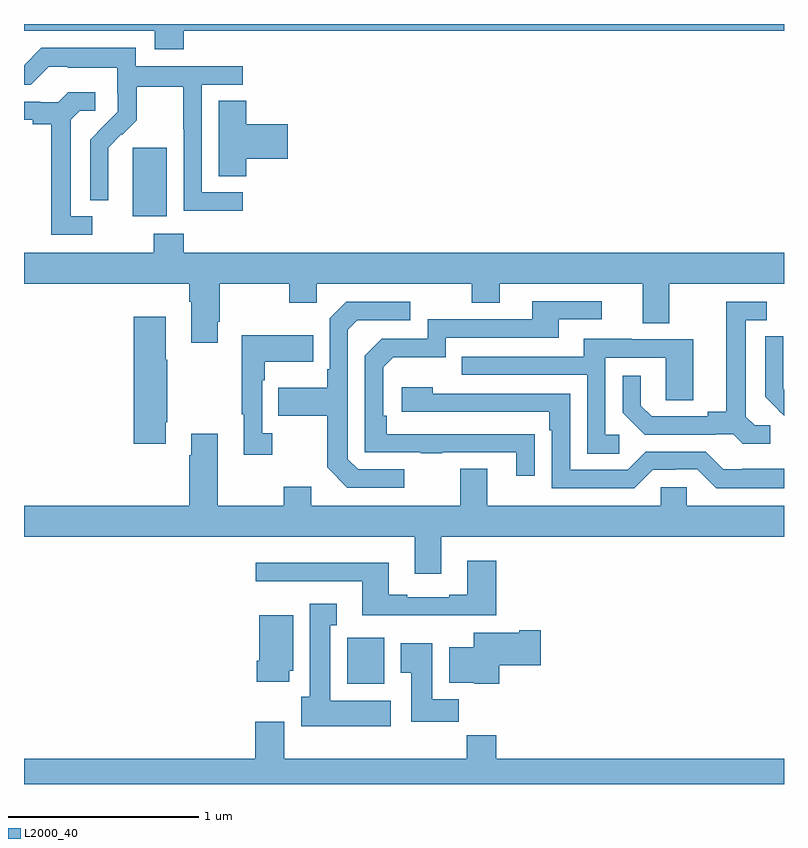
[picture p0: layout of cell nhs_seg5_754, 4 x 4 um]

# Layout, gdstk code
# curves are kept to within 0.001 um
import gdstk
lib = gdstk.Library(unit=1e-6, precision=1e-09)
def R(c, l, rs):  # rectangles x0, y0, x1, y1
    for r in rs: c.add(gdstk.rectangle(r[:2], r[2:], *l))
def P(c, l, *ps):  # polygons
    for p in ps: c.add(gdstk.Polygon(p, *l))
L2000_40 = (2000, 40)

nhs_seg5_754 = lib.new_cell('nhs_seg5_754')
R(nhs_seg5_754, L2000_40, [(160.7,849.326,160.897,849.568), (159.572,851.786,159.751,852.147)])
P(nhs_seg5_754, L2000_40, [(159.842,852.764),(163,852.764),(163,852.799),(159,852.799),(159,852.764),(159.689,852.764),(159.689,852.665),(159.842,852.665)],
  [(160.15,851.913),(159.936,851.913),(159.936,852.48),(160.15,852.48),(160.15,852.576),(159.588,852.576),(159.588,852.673),(159.091,852.673),(159,852.582),(159,852.48),(159.036,852.48),(159.129,852.573),(159.229,852.573),(159.229,852.569),(159.492,852.569),(159.492,852.435),(159.494,852.435),(159.494,852.338),(159.348,852.19),(159.348,851.872),(159.444,851.872),(159.443,852.149),(159.513,852.219),(159.516,852.216),(159.593,852.293),(159.593,852.468),(159.838,852.468),(159.838,852.244),(159.84,852.244),(159.84,851.815),(160.15,851.815)],
  [(159.358,851.787),(159.247,851.787),(159.247,852.295),(159.294,852.342),(159.376,852.342),(159.376,852.439),(159.232,852.439),(159.18,852.387),(159.086,852.387),(159.086,852.39),(159,852.39),(159,852.294),(159.047,852.294),(159.047,852.272),(159.143,852.272),(159.143,851.691),(159.358,851.691)],
  [(160.169,852.089),(160.387,852.089),(160.387,852.272),(160.169,852.272),(160.169,852.395),(160.025,852.395),(160.025,851.998),(160.169,851.998)],
  [(160.021,851.233),(160.029,851.233),(160.029,851.432),(160.396,851.432),(160.396,851.333),(160.542,851.333),(160.542,851.432),(161.356,851.432),(161.356,851.333),(161.503,851.333),(161.503,851.432),(162.257,851.432),(162.257,851.224),(162.397,851.224),(162.397,851.432),(163,851.432),(163,851.596),(159.842,851.596),(159.842,851.695),(159.682,851.695),(159.682,851.596),(159,851.596),(159,851.432),(159.869,851.432),(159.869,851.336),(159.881,851.336),(159.881,851.121),(160.021,851.121)],
  [(161.687,850.64),(160.91,850.641),(160.91,850.738),(160.89,850.738),(160.89,850.992),(160.943,851.045),(161.22,851.045),(161.22,851.148),(161.815,851.148),(161.815,851.244),(162.04,851.244),(162.04,851.34),(161.675,851.34),(161.675,851.244),(161.124,851.244),(161.124,851.142),(160.884,851.142),(160.794,851.052),(160.794,850.545),(161.089,850.545),(161.089,850.54),(161.201,850.54),(161.201,850.545),(161.591,850.545),(161.591,850.422),(161.687,850.422)],
  [(162.928,850.686),(162.846,850.686),(162.799,850.733),(162.799,851.241),(162.91,851.241),(162.91,851.337),(162.695,851.337),(162.695,850.757),(162.599,850.757),(162.599,850.734),(162.304,850.734),(162.247,850.791),(162.247,850.948),(162.15,850.948),(162.15,850.754),(162.266,850.638),(162.638,850.638),(162.638,850.641),(162.732,850.641),(162.784,850.589),(162.928,850.589)],
  [(161.002,850.455),(160.758,850.455),(160.704,850.509),(160.704,851.19),(160.755,851.241),(161.032,851.241),(161.032,851.337),(160.695,851.337),(160.608,851.25),(160.608,850.981),(160.596,850.981),(160.596,850.885),(160.339,850.885),(160.339,850.738),(160.596,850.738),(160.596,850.465),(160.701,850.359),(161.002,850.359)],
  [(159.745,850.702),(159.753,850.702),(159.753,851.033),(159.745,851.033),(159.745,851.257),(159.578,851.257),(159.578,850.59),(159.745,850.59)],
  [(160.306,850.646),(160.254,850.646),(160.254,850.925),(160.267,850.925),(160.267,851.021),(160.523,851.021),(160.523,851.161),(160.146,851.161),(160.146,850.745),(160.157,850.745),(160.157,850.533),(160.306,850.533)],
  [(163,850.875),(162.995,850.88),(162.995,851.002),(162.996,851.002),(162.996,851.156),(162.9,851.156),(162.9,850.838),(162.973,850.765),(162.972,850.764),(163,850.736)],
  [(162.133,850.638),(162.06,850.638),(162.06,851.043),(162.378,851.043),(162.378,850.819),(162.523,850.819),(162.523,851.139),(162.199,851.139),(162.199,851.143),(161.945,851.143),(161.945,851.049),(161.305,851.049),(161.305,850.953),(161.964,850.953),(161.964,850.537),(162.133,850.537)],
  [(163,850.459),(162.781,850.459),(162.781,850.455),(162.681,850.455),(162.588,850.548),(162.273,850.548),(162.177,850.452),(161.874,850.452),(161.874,850.854),(161.15,850.854),(161.15,850.888),(160.989,850.888),(160.989,850.758),(161.765,850.758),(161.765,850.661),(161.778,850.661),(161.778,850.356),(162.213,850.356),(162.309,850.452),(162.428,850.452),(162.428,850.455),(162.543,850.455),(162.643,850.355),(163,850.355)],
  [(161.197,850.1),(163,850.1),(163,850.264),(162.489,850.264),(162.489,850.362),(162.351,850.362),(162.351,850.264),(161.437,850.264),(161.437,850.459),(161.297,850.459),(161.297,850.264),(160.513,850.264),(160.513,850.363),(160.366,850.363),(160.366,850.264),(160.021,850.264),(160.021,850.642),(159.881,850.642),(159.881,850.529),(159.869,850.529),(159.869,850.264),(159,850.264),(159,850.1),(161.057,850.1),(161.057,849.906),(161.197,849.906)],
  [(161.486,849.973),(161.333,849.973),(161.333,849.796),(161.237,849.796),(161.237,849.783),(161.017,849.783),(161.017,849.796),(160.921,849.796),(160.921,849.964),(160.221,849.964),(160.221,849.867),(160.781,849.867),(160.781,849.686),(161.486,849.686)],
  [(160.93,849.238),(160.612,849.238),(160.612,849.635),(160.645,849.635),(160.645,849.748),(160.505,849.748),(160.505,849.258),(160.46,849.258),(160.46,849.104),(160.93,849.104)],
  [(160.396,849.396),(160.417,849.396),(160.417,849.688),(160.238,849.688),(160.238,849.448),(160.226,849.448),(160.226,849.336),(160.396,849.336)],
  [(161.501,849.425),(161.719,849.425),(161.719,849.608),(161.606,849.608),(161.606,849.595),(161.366,849.595),(161.366,849.52),(161.237,849.52),(161.237,849.332),(161.37,849.332),(161.37,849.326),(161.501,849.326)],
  [(161.288,849.244),(161.149,849.244),(161.149,849.541),(160.982,849.541),(160.982,849.385),(161.039,849.385),(161.039,849.126),(161.288,849.126)],
  [(163,848.932),(161.486,848.932),(161.486,849.056),(161.329,849.056),(161.329,848.932),(160.369,848.932),(160.369,849.127),(160.217,849.127),(160.217,848.932),(159,848.932),(159,848.799),(163,848.799)])

lib.write_gds('nhs_seg5_754.gds')
